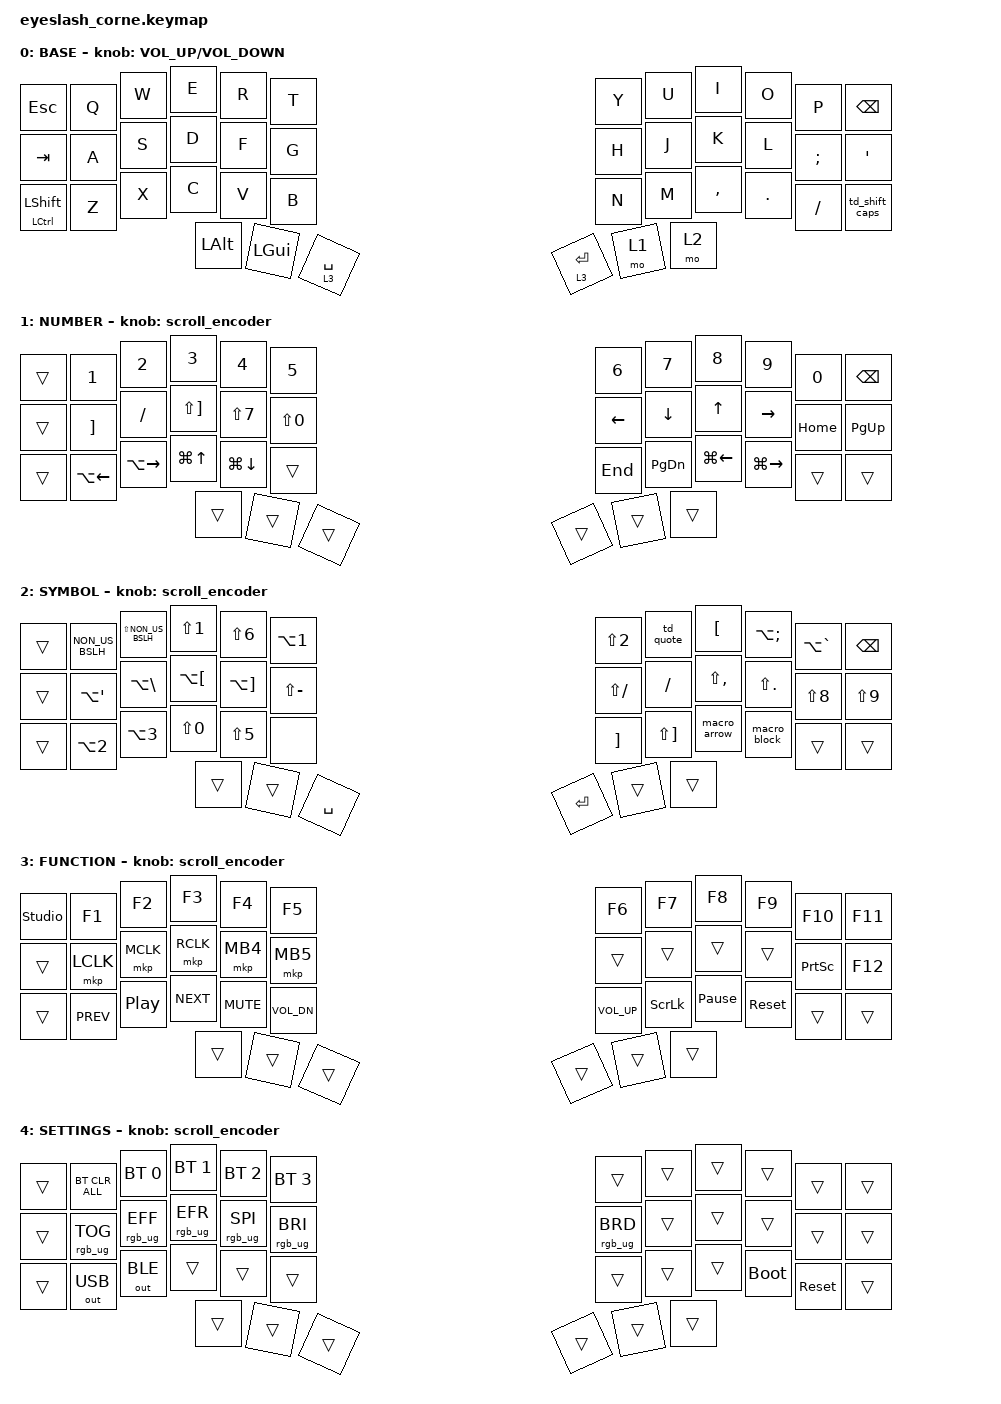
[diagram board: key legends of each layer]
/*
 * ╔══════════════════════════════════════════════════════════════════════════╗
 * ║                    Tavomak's CORNE KEYMAP CONFIGURATION                  ║
 * ╠══════════════════════════════════════════════════════════════════════════╣
 * ║  5 layers: BASE · NUMBER · SYMBOL · FUNCTION · SETTINGS                 ║
 * ║  OS: macOS Spanish (Spain) — keycodes derived accordingly                ║
 * ║  Specs: .claude/specs/01–07                                              ║
 * ╚══════════════════════════════════════════════════════════════════════════╝
 */

// ============================================================================
// MOUSE CONFIG
// ============================================================================
#define ZMK_POINTING_DEFAULT_MOVE_VAL 1200
#define ZMK_POINTING_DEFAULT_SCRL_VAL 25

// ============================================================================
// INCLUDES
// ============================================================================
#include <input/processors.dtsi>
#include <zephyr/dt-bindings/input/input-event-codes.h>
#include <behaviors.dtsi>
#include <dt-bindings/zmk/bt.h>
#include <dt-bindings/zmk/ext_power.h>
#include <dt-bindings/zmk/keys.h>
#include <dt-bindings/zmk/pointing.h>
#include <dt-bindings/zmk/outputs.h>
#include <dt-bindings/zmk/rgb.h>

// ============================================================================
// INPUT PROCESSORS
// ============================================================================
&mmv_input_listener {
    input-processors = <&zip_xy_scaler 2 1>;
};

&msc_input_listener {
    input-processors = <&zip_scroll_scaler 2 1>;
};

// ============================================================================
// MOUSE SCROLL
// ============================================================================
&msc {
    acceleration-exponent = <1>;
    time-to-max-speed-ms = <100>;
    delay-ms = <0>;
};

// ============================================================================
// MOUSE MOVEMENT
// ============================================================================
&mmv {
    time-to-max-speed-ms = <500>;
    acceleration-exponent = <1>;
    trigger-period-ms = <16>;
};

/ {

    // ========================================================================
    // MACROS — spec 07
    // ========================================================================
    macros {

        // => (JS arrow function)
        // Sends = then > under Spanish macOS
        macro_arrow: macro_arrow {
            compatible = "zmk,behavior-macro";
            #binding-cells = <0>;
            wait-ms = <10>;
            tap-ms = <10>;
            bindings = <&kp LS(N0)>, <&kp LS(NON_US_BSLH)>;
        };

        // {} with cursor inside (JS/CSS block)
        // Sends { then } then LEFT arrow
        macro_block: macro_block {
            compatible = "zmk,behavior-macro";
            #binding-cells = <0>;
            wait-ms = <10>;
            tap-ms = <10>;
            bindings = <&kp LA(SQT)>, <&kp LA(BSLH)>, <&kp LEFT>;
        };
    };

    // ========================================================================
    // BEHAVIORS — specs 02, 06
    // ========================================================================
    behaviors {

        // Tap = SHIFT / Hold = CTRL — spec 02
        // flavor=balanced + require-prior-idle avoids CTRL on fast typing
        mt_ctrl_shift: mt_ctrl_shift {
            compatible = "zmk,behavior-hold-tap";
            #binding-cells = <2>;
            flavor = "balanced";
            tapping-term-ms = <200>;
            require-prior-idle-ms = <125>;
            bindings = <&kp>, <&kp>;
        };

        // 1 tap = RSHIFT / 2 taps = CAPS_WORD — spec 06
        td_shift_caps: td_shift_caps {
            compatible = "zmk,behavior-tap-dance";
            #binding-cells = <0>;
            tapping-term-ms = <200>;
            bindings = <&kp RSHIFT>, <&caps_word>;
        };

        // 1 tap = ' / 2 taps = " — spec 06
        // MINUS = ' and LS(N2) = " under Spanish macOS
        td_quote: td_quote {
            compatible = "zmk,behavior-tap-dance";
            #binding-cells = <0>;
            tapping-term-ms = <200>;
            bindings = <&kp MINUS>, <&kp LS(N2)>;
        };
    };

    // ========================================================================
    // ENCODERS
    // ========================================================================

    // RGB brightness (not used in any layer currently — available for future)
    rgb_encoder: rgb_encoder {
        compatible = "zmk,behavior-sensor-rotate";
        #sensor-binding-cells = <0>;
        bindings = <&rgb_ug RGB_BRI>, <&rgb_ug RGB_BRD>;
    };

    // Scroll — used in layers 1-4
    scroll_encoder: scroll_encoder {
        compatible = "zmk,behavior-sensor-rotate";
        #sensor-binding-cells = <0>;
        bindings = <&msc SCRL_DOWN>, <&msc SCRL_UP>;
        tap-ms = <100>;
    };

    // ========================================================================
    // TRI-LAYER: NUMBER (1) + SYMBOL (2) → SETTINGS (4) — spec 03
    // ========================================================================
    conditional_layers {
        compatible = "zmk,conditional-layers";
        settings_layer {
            if-layers = <1 2>;
            then-layer = <4>;
        };
    };

    // ========================================================================
    // KEYMAP
    // ========================================================================
    keymap {
        compatible = "zmk,keymap";

        // ====================================================================
        // LAYER 0: BASE — specs 01, 02
        // ====================================================================
        // Thumb left:  ALT | CMD | SPACE/FN
        // Thumb right: ENTER/FN | NUM | SYM
        // Pinky left:  ESC (top) | TAB (home) | CTRL/SHIFT (bottom)
        // Pinky right: BSPC (top) | ´ (home) | SHIFT/CAPS (bottom)
        // ====================================================================
        default_layer {
            display-name = "BASE";
            bindings = <
// ╭──────────────────┬──────────────────┬──────────────────┬──────────────────┬──────────────────┬──────────────────╮   ╭──────────────────┬──────────────────┬──────────────────┬──────────────────┬──────────────────┬──────────────────╮
//  ESC                Q                  W                  E                  R                  T                      Y                  U                  I                  O                  P                  BSPC
    &kp ESC            &kp Q              &kp W              &kp E              &kp R              &kp T                  &kp Y              &kp U              &kp I              &kp O              &kp P              &kp BSPC
// ├──────────────────┼──────────────────┼──────────────────┼──────────────────┼──────────────────┼──────────────────┤   ├──────────────────┼──────────────────┼──────────────────┼──────────────────┼──────────────────┼──────────────────┤
//  TAB                A                  S                  D                  F                  G                      H                  J                  K                  L                  ñ                  ´(dead)
    &kp TAB            &kp A              &kp S              &kp D              &kp F              &kp G                  &kp H              &kp J              &kp K              &kp L              &kp SEMI           &kp SQT
// ├──────────────────┼──────────────────┼──────────────────┼──────────────────┼──────────────────┼──────────────────┤   ├──────────────────┼──────────────────┼──────────────────┼──────────────────┼──────────────────┼──────────────────┤
//  tap=SHIFT hold=CTRL Z                 X                  C                  V                  B                      N                  M                  ,                  .                  -                  tap=SHIFT 2x=CAPS
    &mt_ctrl_shift LCTRL LSHIFT &kp Z    &kp X              &kp C              &kp V              &kp B                  &kp N              &kp M              &kp COMMA          &kp DOT            &kp FSLH           &td_shift_caps
// ╰──────────────────┴──────────────────┴──────────────────┼──────────────────┼──────────────────┼──────────────────┤   ├──────────────────┼──────────────────┼──────────────────┴──────────────────┴──────────────────┴──────────────────╯
//                                                           ALT                CMD                tap=SPC hold=FN        tap=ENT hold=FN    NUM                SYM
                                                             &kp LALT           &kp LGUI           &lt 3 SPACE            &lt 3 ENTER        &mo 1              &mo 2
//                                                          ╰──────────────────┴──────────────────┴──────────────────╯   ╰──────────────────┴──────────────────┴──────────────────╯
            >;
            sensor-bindings = <&inc_dec_kp C_VOLUME_UP C_VOLUME_DOWN>;
        };

        // ====================================================================
        // LAYER 1: NUMBER — Numbers + Operators + nvim Navigation — spec 04
        // ====================================================================
        // Home row left:   + - * / =  (operators, Spanish macOS keycodes)
        // Home row right:  ← ↓ ↑ → HOME PGUP  (hjkl navigation)
        // Bottom row left: w← w→ gg G  (word/doc jumps)
        // Bottom row right: END PGDN line-start line-end
        // ====================================================================
        lower_layer {
            display-name = "NUMBER";
            bindings = <
// ╭──────────────────┬──────────────────┬──────────────────┬──────────────────┬──────────────────┬──────────────────╮    ╭──────────────────┬──────────────────┬──────────────────┬──────────────────┬──────────────────┬──────────────────╮
//  ---                1                  2                  3                  4                  5                       6                  7                  8                  9                  0                  BSPC
    &trans             &kp N1             &kp N2             &kp N3             &kp N4             &kp N5                  &kp N6             &kp N7             &kp N8             &kp N9             &kp N0             &kp BSPC
// ├──────────────────┼──────────────────┼──────────────────┼──────────────────┼──────────────────┼──────────────────┤    ├──────────────────┼──────────────────┼──────────────────┼──────────────────┼──────────────────┼──────────────────┤
//  ---                +                  -                  *                  /                  =                       ←                  ↓                  ↑                  →                  HOME               PGUP
    &trans             &kp RBKT           &kp FSLH           &kp LS(RBKT)       &kp LS(N7)         &kp LS(N0)              &kp LEFT           &kp DOWN           &kp UP             &kp RIGHT          &kp HOME           &kp PG_UP
// ├──────────────────┼──────────────────┼──────────────────┼──────────────────┼──────────────────┼──────────────────┤    ├──────────────────┼──────────────────┼──────────────────┼──────────────────┼──────────────────┼──────────────────┤
//  ---                w←(Opt+←)         w→(Opt+→)          gg(Cmd+↑)          G(Cmd+↓)           ---                     END                PGDN               ^(Cmd+←)           $(Cmd+→)           ---                ---
    &trans             &kp LA(LEFT)       &kp LA(RIGHT)      &kp LG(UP)         &kp LG(DOWN)       &trans                  &kp END            &kp PG_DN          &kp LG(LEFT)       &kp LG(RIGHT)      &trans             &trans
// ╰──────────────────┴──────────────────┴──────────────────┼──────────────────┼──────────────────┼──────────────────┤    ├──────────────────┼──────────────────┼──────────────────┴──────────────────┴──────────────────┴──────────────────╯
//                                                           ---                ---                ---                     ---                held               ---
                                                             &trans             &trans             &trans                  &trans             &trans             &trans
//                                                          ╰──────────────────┴──────────────────┴──────────────────╯    ╰──────────────────┴──────────────────┴──────────────────╯
            >;
            sensor-bindings = <&scroll_encoder>;
        };

        // ====================================================================
        // LAYER 2: SYMBOL — Direct symbols for Spanish macOS — spec 05
        // ====================================================================
        // All keycodes produce the correct character under Spanish macOS.
        // LA() = Option/Alt combo. NON_US_BSLH = ISO key (< / >).
        // ====================================================================
        raise_layer {
            display-name = "SYMBOL";
            bindings = <
// ╭──────────────────┬──────────────────┬──────────────────┬──────────────────┬──────────────────┬──────────────────╮   ╭──────────────────┬──────────────────┬──────────────────┬──────────────────┬──────────────────┬──────────────────╮
//  ---                <                  >                  !                  &                  |                      "                  '/"(tap dance)      `                  ~                  \                  BSPC
    &trans             &kp NON_US_BSLH    &kp LS(NON_US_BSLH) &kp LS(N1)       &kp LS(N6)         &kp LA(N1)             &kp LS(N2)         &td_quote          &kp LBKT           &kp LA(SEMI)       &kp LA(GRAVE)      &kp BSPC
// ├──────────────────┼──────────────────┼──────────────────┼──────────────────┼──────────────────┼──────────────────┤   ├──────────────────┼──────────────────┼──────────────────┼──────────────────┼──────────────────┼──────────────────┤
//  ---                {                  }                  [                  ]                  ?                      _                  -                  ;                  :                  (                  )
    &trans             &kp LA(SQT)        &kp LA(BSLH)        &kp LA(LBKT)      &kp LA(RBKT)       &kp LS(MINUS)          &kp LS(FSLH)       &kp FSLH           &kp LS(COMMA)      &kp LS(DOT)        &kp LS(N8)         &kp LS(N9)
// ├──────────────────┼──────────────────┼──────────────────┼──────────────────┼──────────────────┼──────────────────┤   ├──────────────────┼──────────────────┼──────────────────┼──────────────────┼──────────────────┼──────────────────┤
//  ---                @                  #                  =                  %                  ∅                      +                  *                  =>                 {|}                ---                ---
    &trans             &kp LA(N2)         &kp LA(N3)          &kp LS(N0)        &kp LS(N5)         &none                  &kp RBKT           &kp LS(RBKT)       &macro_arrow       &macro_block       &trans             &trans
// ╰──────────────────┴──────────────────┴──────────────────┼──────────────────┼──────────────────┼──────────────────┤   ├──────────────────┼──────────────────┼──────────────────┴──────────────────┴──────────────────┴──────────────────╯
//                                                           ---                ---                SPC                    ENT                held               ---
                                                             &trans             &trans             &kp SPACE              &kp RET            &trans             &trans
//                                                          ╰──────────────────┴──────────────────┴──────────────────╯   ╰──────────────────┴──────────────────┴──────────────────╯
            >;
            sensor-bindings = <&scroll_encoder>;
        };

        // ====================================================================
        // LAYER 3: FUNCTION — F1-F12 + Media + Mouse — spec 03
        // ====================================================================
        // Mouse consolidated on home row left.
        // Media keys on bottom row left.
        // BOOTLOADER removed — only accessible from SETTINGS.
        // ====================================================================
        layer_3 {
            display-name = "FUNCTION";
            bindings = <
// ╭──────────────────┬──────────────────┬──────────────────┬──────────────────┬──────────────────┬──────────────────╮   ╭──────────────────┬──────────────────┬──────────────────┬──────────────────┬──────────────────┬──────────────────╮
//  STUDIO_UNLOCK      F1                 F2                 F3                 F4                 F5                     F6                 F7                 F8                 F9                 F10                F11
    &studio_unlock     &kp F1             &kp F2             &kp F3             &kp F4             &kp F5                 &kp F6             &kp F7             &kp F8             &kp F9             &kp F10            &kp F11
// ├──────────────────┼──────────────────┼──────────────────┼──────────────────┼──────────────────┼──────────────────┤   ├──────────────────┼──────────────────┼──────────────────┼──────────────────┼──────────────────┼──────────────────┤
//  ---                M1(left)           M2(mid)            M3(right)          MB4                MB5                    ---                ---                ---                ---                PRSC               F12
    &trans             &mkp LCLK          &mkp MCLK          &mkp RCLK          &mkp MB4           &mkp MB5               &trans             &trans             &trans             &trans             &kp PRINTSCREEN    &kp F12
// ├──────────────────┼──────────────────┼──────────────────┼──────────────────┼──────────────────┼──────────────────┤   ├──────────────────┼──────────────────┼──────────────────┼──────────────────┼──────────────────┼──────────────────┤
//  ---                ⏮                  ⏯                  ⏭                  MUTE               VOL_DN                 VOL_UP             SCRL_LOCK          PAUSE              SYS_RESET          ---                ---
    &trans             &kp C_PREV         &kp C_PP           &kp C_NEXT         &kp C_MUTE         &kp C_VOL_DN           &kp C_VOL_UP       &kp SCROLLLOCK     &kp PAUSE_BREAK    &sys_reset         &trans             &trans
// ╰──────────────────┴──────────────────┴──────────────────┼──────────────────┼──────────────────┼──────────────────┤   ├──────────────────┼──────────────────┼──────────────────┴──────────────────┴──────────────────┴──────────────────╯
//                                                           ---                ---                held                   held               ---                ---
                                                             &trans             &trans             &trans                 &trans             &trans             &trans
//                                                          ╰──────────────────┴──────────────────┴──────────────────╯   ╰──────────────────┴──────────────────┴──────────────────╯
            >;
            sensor-bindings = <&scroll_encoder>;
        };

        // ====================================================================
        // LAYER 4: SETTINGS — BT + RGB + Output + Bootloader — spec 03
        // ====================================================================
        // Activated via tri-layer: hold NUM (mo 1) + SYM (mo 2) simultaneously.
        // BOOTLOADER at bottom-right — hardest position to hit accidentally.
        // ====================================================================
        settings_layer {
            display-name = "SETTINGS";
            bindings = <
// ╭──────────────────┬──────────────────┬──────────────────┬──────────────────┬──────────────────┬──────────────────╮   ╭──────────────────┬──────────────────┬──────────────────┬──────────────────┬──────────────────┬──────────────────╮
//  ---                BT_CLR_ALL         BT_0               BT_1               BT_2               BT_3                   ---                ---                ---                ---                ---                ---
    &trans             &bt BT_CLR_ALL     &bt BT_SEL 0       &bt BT_SEL 1       &bt BT_SEL 2       &bt BT_SEL 3           &trans             &trans             &trans             &trans             &trans             &trans
// ├──────────────────┼──────────────────┼──────────────────┼──────────────────┼──────────────────┼──────────────────┤   ├──────────────────┼──────────────────┼──────────────────┼──────────────────┼──────────────────┼──────────────────┤
//  ---                RGB_TOG            RGB_EFF            RGB_EFR            RGB_SPI            RGB_BRI                RGB_BRD            ---                ---                ---                ---                ---
    &trans             &rgb_ug RGB_TOG    &rgb_ug RGB_EFF    &rgb_ug RGB_EFR    &rgb_ug RGB_SPI    &rgb_ug RGB_BRI        &rgb_ug RGB_BRD    &trans             &trans             &trans             &trans             &trans
// ├──────────────────┼──────────────────┼──────────────────┼──────────────────┼──────────────────┼──────────────────┤   ├──────────────────┼──────────────────┼──────────────────┼──────────────────┼──────────────────┼──────────────────┤
//  ---                OUT_USB            OUT_BLE            ---                ---                ---                    ---                ---                ---                BOOTLOADER         SYS_RESET          ---
    &trans             &out OUT_USB       &out OUT_BLE       &trans             &trans             &trans                 &trans             &trans             &trans             &bootloader        &sys_reset         &trans
// ╰──────────────────┴──────────────────┴──────────────────┼──────────────────┼──────────────────┼──────────────────┤   ├──────────────────┼──────────────────┼──────────────────┴──────────────────┴──────────────────┴──────────────────╯
//                                                           ---                ---                ---                    ---                held               held
                                                             &trans             &trans             &trans                 &trans             &trans             &trans
//                                                          ╰──────────────────┴──────────────────┴──────────────────╯   ╰──────────────────┴──────────────────┴──────────────────╯
            >;
            sensor-bindings = <&scroll_encoder>;
        };
    };
};
